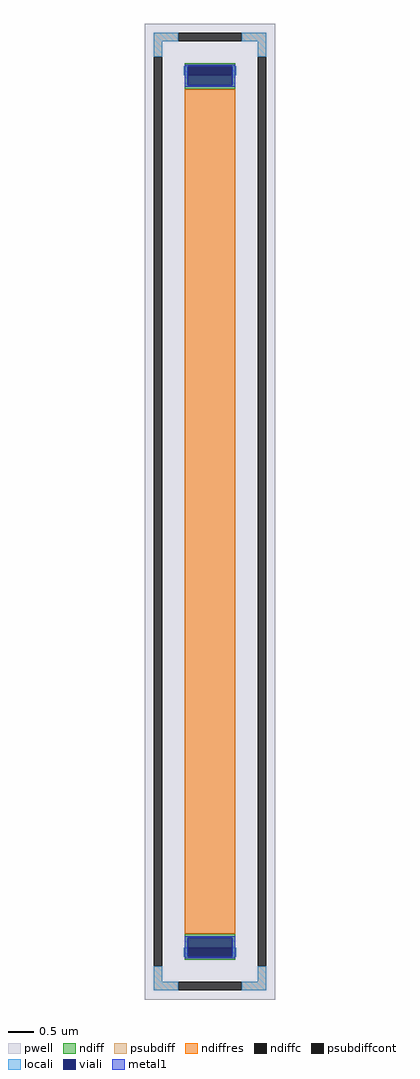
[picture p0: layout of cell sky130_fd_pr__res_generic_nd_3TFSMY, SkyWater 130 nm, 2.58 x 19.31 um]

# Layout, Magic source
magic
tech sky130A
magscale 1 2
<< pwell >>
rect -258 -1931 258 1931
<< ndiff >>
rect -100 1761 100 1773
rect -100 1727 -88 1761
rect 88 1727 100 1761
rect -100 1670 100 1727
rect -100 -1727 100 -1670
rect -100 -1761 -88 -1727
rect 88 -1761 100 -1727
rect -100 -1773 100 -1761
<< ndiffc >>
rect -88 1727 88 1761
rect -88 -1761 88 -1727
<< psubdiff >>
rect -222 1861 -126 1895
rect 126 1861 222 1895
rect -222 1799 -188 1861
rect 188 1799 222 1861
rect -222 -1861 -188 -1799
rect 188 -1861 222 -1799
rect -222 -1895 -126 -1861
rect 126 -1895 222 -1861
<< psubdiffcont >>
rect -126 1861 126 1895
rect -222 -1799 -188 1799
rect 188 -1799 222 1799
rect -126 -1895 126 -1861
<< ndiffres >>
rect -100 -1670 100 1670
<< locali >>
rect -222 1861 -126 1895
rect 126 1861 222 1895
rect -222 1799 -188 1861
rect 188 1799 222 1861
rect -104 1727 -88 1761
rect 88 1727 104 1761
rect -104 -1761 -88 -1727
rect 88 -1761 104 -1727
rect -222 -1861 -188 -1799
rect 188 -1861 222 -1799
rect -222 -1895 -126 -1861
rect 126 -1895 222 -1861
<< viali >>
rect -88 1727 88 1761
rect -88 1687 88 1727
rect -88 -1727 88 -1687
rect -88 -1761 88 -1727
<< metal1 >>
rect -100 1761 100 1767
rect -100 1687 -88 1761
rect 88 1687 100 1761
rect -100 1681 100 1687
rect -100 -1687 100 -1681
rect -100 -1761 -88 -1687
rect 88 -1761 100 -1687
rect -100 -1767 100 -1761
<< properties >>
string FIXED_BBOX -205 -1878 205 1878
string gencell sky130_fd_pr__res_generic_nd
string library sky130
string parameters w 1.0 l 16.7 m 1 nx 1 wmin 0.42 lmin 2.10 rho 120 val 2.109k dummy 0 dw 0.05 term 0.0 sterm 0.0 caplen 0.4 snake 0 guard 1 glc 1 grc 1 gtc 1 gbc 1 roverlap 0 endcov 100 full_metal 1 vias 1 viagb 0 viagt 0 viagl 0 viagr 0
<< end >>
